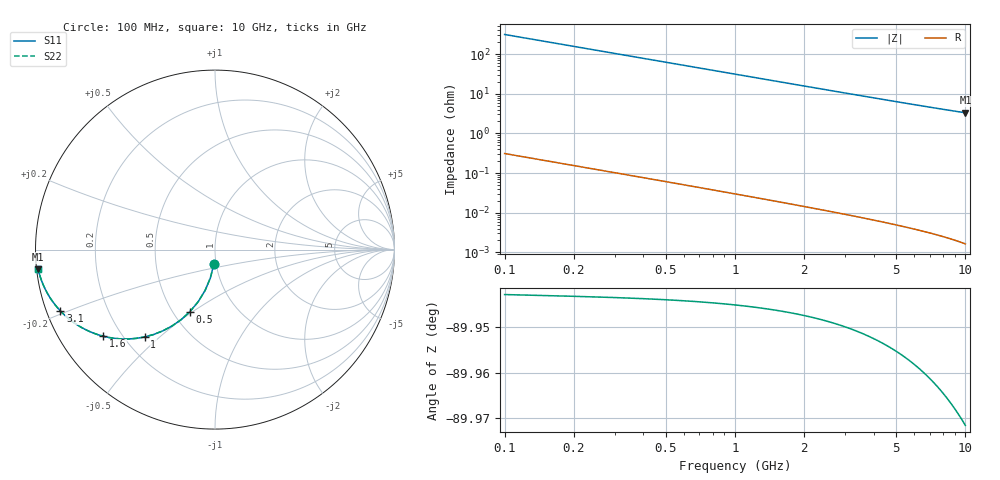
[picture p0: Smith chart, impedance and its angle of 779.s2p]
# Hz S RI R 50.00
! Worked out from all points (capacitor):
!   100 points, 100 MHz to 10 GHz, reference 50 ohm
!   read as one part in shunt: C = 5.11 pF near 100 MHz
!   lowest |Z| = 3.31 ohm at 10 GHz (marker M1)
!   S11 on the Smith chart (normalised r, x): 100 MHz: 0.97, -0.16; 500 MHz: 0.61, -0.49; 1 GHz: 0.28, -0.45; 1.6 GHz: 0.13, -0.34; 3.1 GHz: 0.04, -0.19; 10 GHz: 0.00, -0.06
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1e8  -0.00642 -0.0797  0.9934 -0.0799  0.9934 -0.0799  -0.00642 -0.0797
2e8  -0.0252 -0.1563  0.9746 -0.1567  0.9746 -0.1567  -0.0252 -0.1563
3e8  -0.055 -0.2272  0.9449 -0.2278  0.9449 -0.2278  -0.055 -0.2272
4e8  -0.0937 -0.2905  0.9062 -0.2913  0.9062 -0.2913  -0.0937 -0.2905
5e8  -0.139 -0.345  0.8609 -0.346  0.8609 -0.346  -0.139 -0.345
6e8  -0.1885 -0.3901  0.8113 -0.3913  0.8113 -0.3913  -0.1885 -0.3901
7e8  -0.2402 -0.426  0.7597 -0.4274  0.7597 -0.4274  -0.2402 -0.426
8e8  -0.2922 -0.4535  0.7077 -0.4551  0.7077 -0.4551  -0.2922 -0.4535
1e9  -0.392 -0.4867  0.6079 -0.4887  0.6079 -0.4887  -0.392 -0.4867
1.3e9  -0.5214 -0.4977  0.4785 -0.5003  0.4785 -0.5003  -0.5214 -0.4977
1.6e9  -0.6226 -0.4826  0.3773 -0.4858  0.3773 -0.4858  -0.6226 -0.4826
1.8e9  -0.6761 -0.4656  0.3237 -0.4692  0.3237 -0.4692  -0.6761 -0.4656
2.1e9  -0.7397 -0.4361  0.2602 -0.4404  0.2602 -0.4404  -0.7397 -0.4361
2.4e9  -0.7877 -0.4059  0.2121 -0.4107  0.2121 -0.4107  -0.7877 -0.4059
2.7e9  -0.8245 -0.3771  0.1753 -0.3825  0.1753 -0.3825  -0.8245 -0.3771
3.1e9  -0.861 -0.3422  0.1388 -0.3485  0.1388 -0.3485  -0.861 -0.3422
3.4e9  -0.8817 -0.3189  0.1181 -0.3258  0.1181 -0.3258  -0.8817 -0.3189
4.2e9  -0.9193 -0.2675  0.0805 -0.276  0.0805 -0.276  -0.9193 -0.2675
5.1e9  -0.9439 -0.2242  0.0559 -0.2346  0.0559 -0.2346  -0.9439 -0.2242
6.7e9  -0.9669 -0.1712  0.0329 -0.185  0.0329 -0.185  -0.9669 -0.1712
8.4e9  -0.9788 -0.1343  0.0209 -0.1517  0.0209 -0.1517  -0.9788 -0.1343
1e10  -0.985 -0.1095  0.0146 -0.1305  0.0146 -0.1305  -0.985 -0.1095
